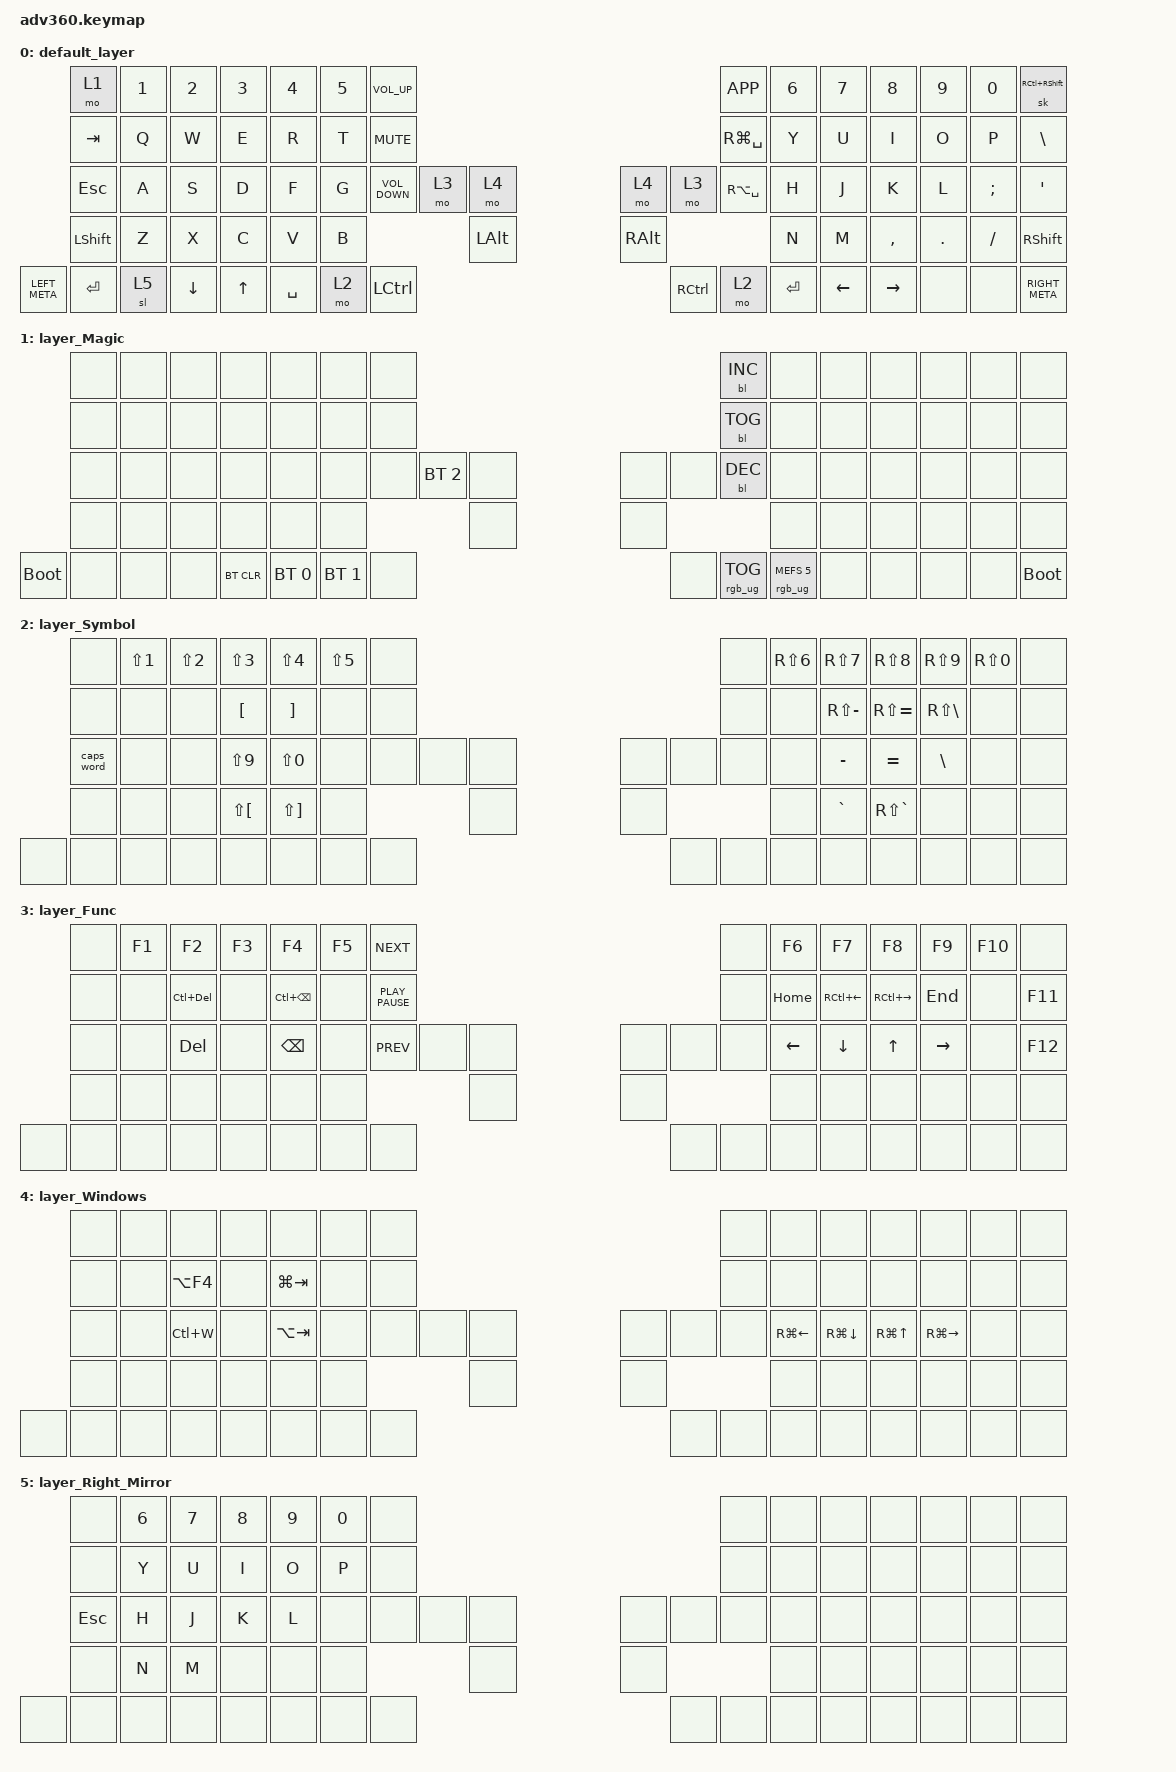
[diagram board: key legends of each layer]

/*
 * Copyright (c) 2020 The ZMK Contributors
 *
 * SPDX-License-Identifier: MIT
 */


/* THIS FILE WAS GENERATED!
 *
 * This file was generated automatically. You may or may not want to
 * edit it directly.
 */

#include <behaviors.dtsi>
#include <dt-bindings/zmk/keys.h>
#include <dt-bindings/zmk/backlight.h>
#include <dt-bindings/zmk/bt.h>
#include <dt-bindings/zmk/rgb.h>

&sl {
    release-after-ms = <3000>;
};

/ {
  behaviors {
    #include "macros.dtsi"
    #include "version.dtsi"

    hm: homerow_mods {
        compatible = "zmk,behavior-hold-tap";
        label = "HOMEROW_MODS";
        #binding-cells = <2>;
        tapping-term-ms = <200>;
        quick_tap_ms = <175>;
        flavor = "tap-preferred";
        bindings = <&kp>, <&kp>;
    };
  };

    keymap {
        compatible = "zmk,keymap";


        default_layer {
            bindings = <
         &mo 1     &kp N1  &kp N2    &kp N3  &kp N4  &kp N5              &kp C_VOLUME_UP                                                                   &kp K_APP  &kp N6    &kp N7     &kp N8   &kp N9    &kp N0  &sk RC(RSHIFT)
       &kp TAB      &kp Q   &kp W     &kp E   &kp R   &kp T                   &kp C_MUTE                                                               &kp RG(SPACE)   &kp Y     &kp U      &kp I    &kp O     &kp P   &kp BACKSLASH
       &kp ESC      &kp A   &kp S     &kp D   &kp F   &kp G            &kp C_VOLUME_DOWN   &mo 3         &mo 4                          &mo 4   &mo 3  &kp RA(SPACE)   &kp H     &kp J      &kp K    &kp L  &kp SEMI         &kp SQT
     &kp LSHFT      &kp Z   &kp X     &kp C   &kp V   &kp B                                       &kp LEFT_ALT                  &kp RIGHT_ALT                          &kp N     &kp M  &kp COMMA  &kp DOT  &kp FSLH       &kp RSHFT
 &kp LEFT_META  &kp ENTER   &sl 5  &kp DOWN  &kp UP                            &kp SPACE   &mo 2     &kp LCTRL                      &kp RCTRL   &mo 2      &kp ENTER          &kp LEFT  &kp RIGHT    &none     &none  &kp RIGHT_META
            >;
        };

        layer_Magic {
            bindings = <
       &none   &none   &none   &none       &none   &none                   &none                                                                             &bl BL_INC   &none   &none   &none   &none   &none        &none
       &none   &none   &none   &none       &none   &none                   &none                                                                             &bl BL_TOG   &none   &none   &none   &none   &none        &none
       &none   &none   &none   &none       &none   &none                   &none  &bt BT_SEL 2   &none                   &none            &none              &bl BL_DEC   &none   &none   &none   &none   &none        &none
       &none   &none   &none   &none       &none   &none                                         &none                   &none                                            &none   &none   &none   &none   &none        &none
 &bootloader   &none   &none   &none  &bt BT_CLR                    &bt BT_SEL 0  &bt BT_SEL 1   &none                   &none  &rgb_ug RGB_TOG  &rgb_ug RGB_MEFS_CMD 5           &none   &none   &none   &none  &bootloader
            >;
        };

        layer_Symbol {
            bindings = <
      &none  &kp LS(N1)  &kp LS(N2)    &kp LS(N3)    &kp LS(N4)  &kp LS(N5)            &none                                                   &none  &kp RS(N6)     &kp RS(N7)     &kp RS(N8)    &kp RS(N9)  &kp RS(N0)   &none
      &none       &none       &none      &kp LBKT      &kp RBKT       &none            &none                                                   &none       &none  &kp RS(MINUS)  &kp RS(EQUAL)  &kp RS(BSLH)       &none   &none
 &caps_word       &none       &none    &kp LS(N9)    &kp LS(N0)       &none            &none   &none   &none                   &none   &none   &none       &none      &kp MINUS      &kp EQUAL      &kp BSLH       &none   &none
      &none       &none       &none  &kp LS(LBKT)  &kp LS(RBKT)       &none                            &none                   &none                       &none      &kp GRAVE  &kp RS(GRAVE)         &none       &none   &none
      &none       &none       &none         &none         &none                        &none   &none   &none                   &none   &none   &none                      &none          &none         &none       &none   &none
            >;
        };

        layer_Func {
            bindings = <
  &none  &kp F1       &kp F2  &kp F3             &kp F4  &kp F5                  &kp K_NEXT                                                   &none    &kp F6        &kp F7         &kp F8     &kp F9  &kp F10    &none
  &none   &none  &kp LC(DEL)   &none  &kp LC(BACKSPACE)   &none            &kp K_PLAY_PAUSE                                                   &none  &kp HOME  &kp RC(LEFT)  &kp RC(RIGHT)    &kp END    &none  &kp F11
  &none   &none      &kp DEL   &none      &kp BACKSPACE   &none                  &kp K_PREV   &none   &none                   &none   &none   &none  &kp LEFT      &kp DOWN         &kp UP  &kp RIGHT    &none  &kp F12
  &none   &none        &none   &none              &none   &none                                       &none                   &none                     &none         &none          &none      &none    &none    &none
  &none   &none        &none   &none              &none                               &none   &none   &none                   &none   &none   &none                   &none          &none      &none    &none    &none
            >;
        };

        layer_Windows {
            bindings = <
  &none   &none       &none   &none        &none   &none            &none                                                   &none         &none         &none       &none          &none   &none   &none
  &none   &none  &kp LA(F4)   &none  &kp LG(TAB)   &none            &none                                                   &none         &none         &none       &none          &none   &none   &none
  &none   &none   &kp LC(W)   &none  &kp LA(TAB)   &none            &none   &none   &none                   &none   &none   &none  &kp RG(LEFT)  &kp RG(DOWN)  &kp RG(UP)  &kp RG(RIGHT)   &none   &none
  &none   &none       &none   &none        &none   &none                            &none                   &none                         &none         &none       &none          &none   &none   &none
  &none   &none       &none   &none        &none                    &none   &none   &none                   &none   &none   &none                       &none       &none          &none   &none   &none
            >;
        };

        layer_Right_Mirror {
            bindings = <
   &none  &kp NUMBER_6  &kp NUMBER_7  &kp NUMBER_8  &kp NUMBER_9  &kp NUMBER_0            &none                                                   &none   &none   &none   &none   &none   &none   &none
   &none         &kp Y         &kp U         &kp I         &kp O         &kp P            &none                                                   &none   &none   &none   &none   &none   &none   &none
 &kp ESC         &kp H         &kp J         &kp K         &kp L         &none            &none   &none   &none                   &none   &none   &none   &none   &none   &none   &none   &none   &none
   &none         &kp N         &kp M         &none         &none         &none                            &none                   &none                   &none   &none   &none   &none   &none   &none
   &none         &none         &none         &none         &none                          &none   &none   &none                   &none   &none   &none           &none   &none   &none   &none   &none
            >;
        };

    };
};
